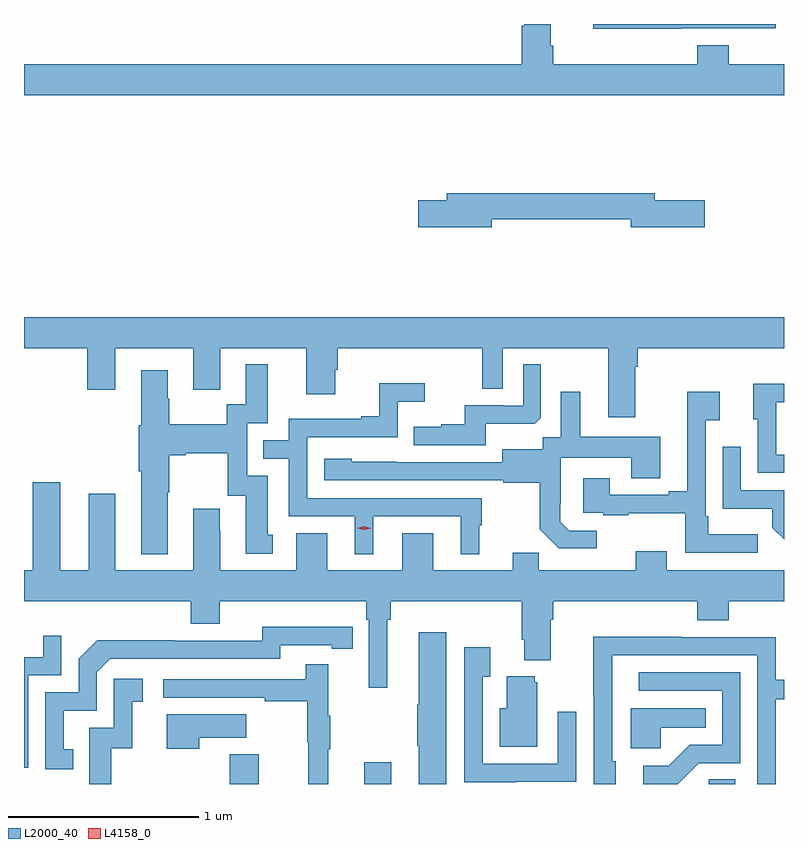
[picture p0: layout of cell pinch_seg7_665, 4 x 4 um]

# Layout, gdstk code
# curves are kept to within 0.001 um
import gdstk
lib = gdstk.Library(unit=1e-6, precision=1e-09)
def R(c, l, rs):  # rectangles x0, y0, x1, y1
    for r in rs: c.add(gdstk.rectangle(r[:2], r[2:], *l))
def P(c, l, *ps):  # polygons
    for p in ps: c.add(gdstk.Polygon(p, *l))
L2000_40 = (2000, 40)
L4158_0 = (4158, 0)

pinch_seg7_665 = lib.new_cell('pinch_seg7_665')
R(pinch_seg7_665, L2000_40, [(301.985,1035.619,302.137,1035.775), (302.693,1035.619,302.833,1035.733), (304.506,1035.619,304.645,1035.644)])
P(pinch_seg7_665, L2000_40, [(304.901,1039.408),(304.61,1039.408),(304.61,1039.507),(304.445,1039.507),(304.445,1039.408),(303.686,1039.408),(303.686,1039.504),(303.673,1039.504),(303.673,1039.619),(303.533,1039.619),(303.533,1039.61),(303.521,1039.61),(303.521,1039.408),(300.901,1039.408),(300.901,1039.244),(304.901,1039.244)],
  [(304.361,1039.596),(304.857,1039.596),(304.857,1039.619),(303.898,1039.619),(303.898,1039.595),(304.361,1039.595)],
  [(303.364,1038.592),(304.094,1038.592),(304.094,1038.55),(304.483,1038.55),(304.483,1038.692),(304.222,1038.692),(304.222,1038.728),(303.125,1038.728),(303.125,1038.692),(302.976,1038.692),(302.976,1038.55),(303.364,1038.55)],
  [(304.117,1037.816),(304.13,1037.816),(304.13,1037.912),(304.901,1037.912),(304.901,1038.076),(300.901,1038.076),(300.901,1037.912),(301.234,1037.912),(301.234,1037.694),(301.381,1037.694),(301.381,1037.912),(301.793,1037.912),(301.793,1037.694),(301.933,1037.694),(301.933,1037.912),(302.387,1037.912),(302.387,1037.67),(302.539,1037.67),(302.539,1037.799),(302.552,1037.799),(302.552,1037.912),(303.312,1037.912),(303.312,1037.698),(303.42,1037.698),(303.42,1037.912),(303.977,1037.912),(303.977,1037.55),(304.117,1037.55)],
  [(301.657,1037.155),(301.665,1037.155),(301.665,1037.348),(301.753,1037.348),(301.753,1037.36),(301.973,1037.36),(301.973,1037.136),(302.069,1037.136),(302.069,1036.83),(302.209,1036.83),(302.209,1036.932),(302.185,1036.932),(302.185,1037.241),(302.076,1037.241),(302.076,1037.517),(302.185,1037.517),(302.185,1037.827),(302.069,1037.827),(302.069,1037.618),(301.968,1037.618),(301.968,1037.512),(301.665,1037.512),(301.665,1037.646),(301.657,1037.646),(301.657,1037.797),(301.517,1037.797),(301.517,1037.508),(301.505,1037.508),(301.505,1037.264),(301.517,1037.264),(301.517,1036.829),(301.657,1036.829)],
  [(303.331,1037.516),(303.589,1037.516),(303.621,1037.547),(303.621,1037.827),(303.528,1037.827),(303.528,1037.61),(303.428,1037.61),(303.428,1037.613),(303.221,1037.613),(303.221,1037.512),(303.097,1037.512),(303.097,1037.5),(302.953,1037.5),(302.953,1037.403),(303.331,1037.403)],
  [(302.74,1037.028),(303.2,1037.028),(303.2,1036.829),(303.298,1036.829),(303.298,1036.98),(303.31,1036.98),(303.31,1037.124),(302.391,1037.124),(302.391,1037.445),(302.868,1037.445),(302.868,1037.63),(303.01,1037.63),(303.01,1037.728),(302.77,1037.728),(302.77,1037.554),(302.675,1037.554),(302.675,1037.541),(302.295,1037.541),(302.295,1037.427),(302.161,1037.427),(302.161,1037.331),(302.295,1037.331),(302.295,1037.028),(302.642,1037.028),(302.642,1036.829),(302.74,1036.829)],
  [(304.901,1037.352),(304.86,1037.352),(304.86,1037.628),(304.901,1037.628),(304.901,1037.726),(304.739,1037.726),(304.739,1037.538),(304.764,1037.538),(304.764,1037.256),(304.901,1037.256)],
  [(303.916,1036.953),(303.771,1036.953),(303.724,1037),(303.724,1037.095),(303.726,1037.095),(303.726,1037.336),(304.097,1037.336),(304.097,1037.227),(304.249,1037.227),(304.249,1037.446),(303.829,1037.446),(303.829,1037.683),(303.725,1037.683),(303.725,1037.444),(303.63,1037.444),(303.63,1037.38),(303.419,1037.38),(303.419,1037.313),(302.625,1037.314),(302.625,1037.332),(302.481,1037.332),(302.481,1037.217),(303.423,1037.217),(303.423,1037.205),(303.615,1037.205),(303.615,1036.959),(303.715,1036.859),(303.916,1036.859)],
  [(304.762,1036.933),(304.501,1036.933),(304.501,1037.029),(304.488,1037.029),(304.488,1037.534),(304.564,1037.534),(304.564,1037.683),(304.391,1037.683),(304.391,1037.161),(304.295,1037.161),(304.295,1037.142),(303.985,1037.142),(303.985,1037.227),(303.845,1037.227),(303.845,1037.046),(303.949,1037.046),(303.949,1037.034),(304.081,1037.034),(304.081,1037.045),(304.38,1037.045),(304.38,1036.836),(304.762,1036.836)],
  [(304.901,1037.166),(304.674,1037.166),(304.674,1037.395),(304.578,1037.395),(304.578,1037.069),(304.84,1037.069),(304.84,1036.967),(304.901,1036.906)],
  [(302.812,1036.484),(302.831,1036.484),(302.831,1036.58),(303.521,1036.58),(303.521,1036.378),(303.533,1036.378),(303.533,1036.271),(303.673,1036.271),(303.673,1036.484),(303.686,1036.484),(303.686,1036.58),(304.445,1036.58),(304.445,1036.481),(304.61,1036.481),(304.61,1036.58),(304.901,1036.58),(304.901,1036.744),(304.285,1036.744),(304.285,1036.843),(304.121,1036.843),(304.121,1036.744),(303.611,1036.744),(303.611,1036.835),(303.473,1036.835),(303.473,1036.744),(303.055,1036.744),(303.055,1036.939),(302.891,1036.939),(302.891,1036.744),(302.497,1036.744),(302.497,1036.939),(302.333,1036.939),(302.333,1036.744),(301.933,1036.744),(301.933,1036.955),(301.93,1036.955),(301.93,1037.068),(301.793,1037.068),(301.793,1036.744),(301.381,1036.744),(301.381,1037.146),(301.241,1037.146),(301.241,1036.744),(301.093,1036.744),(301.093,1037.206),(300.946,1037.206),(300.946,1036.744),(300.901,1036.744),(300.901,1036.58),(301.778,1036.58),(301.778,1036.463),(301.93,1036.463),(301.93,1036.58),(302.702,1036.58),(302.702,1036.484),(302.715,1036.484),(302.715,1036.125),(302.812,1036.125)],
  [(301.16,1035.801),(301.111,1035.801),(301.111,1036.005),(301.284,1036.005),(301.284,1036.206),(301.356,1036.278),(302.25,1036.278),(302.25,1036.35),(302.522,1036.35),(302.522,1036.33),(302.63,1036.33),(302.63,1036.446),(302.154,1036.447),(302.154,1036.374),(301.694,1036.374),(301.694,1036.376),(301.286,1036.376),(301.188,1036.278),(301.188,1036.101),(301.014,1036.101),(301.014,1035.696),(301.16,1035.696)],
  [(303.124,1036.417),(302.978,1036.417),(302.978,1036.037),(302.971,1036.037),(302.971,1035.82),(302.978,1035.82),(302.978,1035.619),(303.124,1035.619)],
  [(300.924,1036.191),(301.098,1036.191),(301.098,1036.399),(301.001,1036.399),(301.001,1036.287),(300.901,1036.287),(300.901,1035.705),(300.924,1035.705)],
  [(304.015,1035.738),(303.996,1035.738),(303.996,1036.042),(303.997,1036.042),(303.997,1036.296),(304.761,1036.296),(304.761,1035.619),(304.857,1035.619),(304.857,1036.066),(304.901,1036.066),(304.901,1036.167),(304.857,1036.167),(304.857,1036.392),(304.361,1036.392),(304.361,1036.394),(303.898,1036.394),(303.898,1036.087),(303.9,1036.087),(303.9,1035.619),(304.015,1035.619)],
  [(303.491,1035.63),(303.807,1035.63),(303.807,1036),(303.711,1036),(303.711,1035.726),(303.315,1035.726),(303.315,1036.183),(303.355,1036.183),(303.355,1036.339),(303.219,1036.339),(303.219,1035.629),(303.491,1035.629)],
  [(302.501,1035.803),(302.512,1035.803),(302.512,1035.977),(302.501,1035.977),(302.501,1036.249),(302.383,1036.249),(302.383,1036.17),(301.635,1036.17),(301.635,1036.074),(302.167,1036.074),(302.167,1036.054),(302.391,1036.054),(302.391,1035.84),(302.398,1035.84),(302.398,1035.619),(302.501,1035.619)],
  [(304.452,1035.729),(304.671,1035.729),(304.671,1036.206),(304.137,1036.206),(304.137,1036.11),(304.575,1036.11),(304.575,1035.825),(304.406,1035.825),(304.295,1035.714),(304.161,1035.714),(304.161,1035.619),(304.341,1035.619)],
  [(303.601,1036.155),(303.59,1036.155),(303.59,1036.186),(303.443,1036.186),(303.443,1036.018),(303.404,1036.018),(303.404,1035.815),(303.601,1035.815)],
  [(301.361,1035.807),(301.472,1035.807),(301.472,1036.053),(301.525,1036.053),(301.525,1036.174),(301.374,1036.174),(301.374,1035.915),(301.245,1035.915),(301.245,1035.619),(301.361,1035.619)],
  [(304.251,1035.914),(304.49,1035.914),(304.49,1036.018),(304.094,1036.018),(304.094,1035.806),(304.251,1035.806)],
  [(301.823,1035.863),(302.071,1035.863),(302.071,1035.985),(301.652,1035.985),(301.652,1035.804),(301.823,1035.804)])
P(pinch_seg7_665, L4158_0, [(302.691,1036.956),(302.655,1036.966),(302.655,1036.966),(302.655,1036.966),(302.691,1036.976),(302.727,1036.966),(302.727,1036.966),(302.727,1036.966)])

lib.write_gds('pinch_seg7_665.gds')
